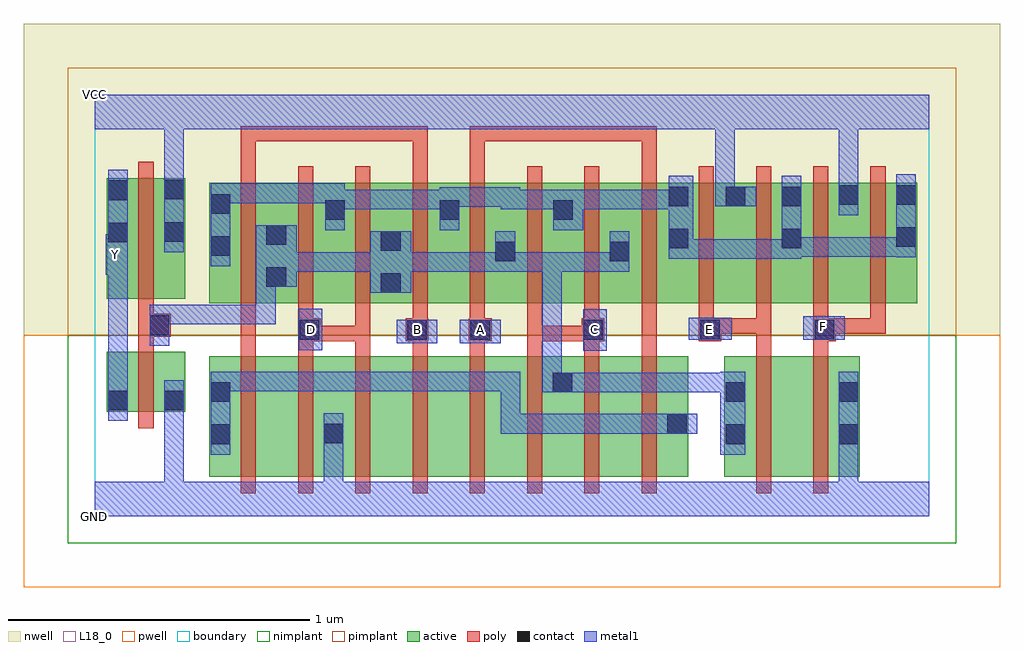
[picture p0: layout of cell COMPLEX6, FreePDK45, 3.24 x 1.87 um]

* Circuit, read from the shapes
.subckt COMPLEX6 A B C D E F GND VCC Y
M1 GND n1 Y VSUBS nfet w=0.2u l=0.05u
M2 n2 B n3 VSUBS nfet w=0.4u l=0.05u
M3 GND D n2 VSUBS nfet w=0.4u l=0.05u
M4 n4 D GND VSUBS nfet w=0.4u l=0.05u
M5 n5 B n4 VSUBS nfet w=0.4u l=0.05u
M6 n6 A n5 VSUBS nfet w=0.4u l=0.05u
M7 n1 C n6 VSUBS nfet w=0.4u l=0.05u
M8 n7 C n1 VSUBS nfet w=0.4u l=0.05u
M9 n3 A n7 VSUBS nfet w=0.4u l=0.05u
M10 n8 E n1 VSUBS nfet w=0.4u l=0.05u
M11 GND F n8 VSUBS nfet w=0.4u l=0.05u
M12 VCC n1 Y n9 pfet w=0.4u l=0.05u
M13 n1 B n10 n9 pfet w=0.4u l=0.05u m=2
M14 n10 D n1 n9 pfet w=0.4u l=0.05u m=2
M15 n1 A n10 n9 pfet w=0.4u l=0.05u m=2
M16 n10 C n1 n9 pfet w=0.4u l=0.05u m=2
M17 VCC E n10 n9 pfet w=0.4u l=0.05u m=2
M18 VCC F n10 n9 pfet w=0.4u l=0.05u m=2
.ends

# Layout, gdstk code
import gdstk
lib = gdstk.Library(unit=1e-6, precision=1e-09)
def R(c, l, rs):  # rectangles x0, y0, x1, y1
    for r in rs: c.add(gdstk.rectangle(r[:2], r[2:], *l))
def A(c, l, x, y, w, h, nx, ny, dx, dy):  # array of equal rectangles
    R(c, l, [(x+i*dx, y+j*dy, x+i*dx+w, y+j*dy+h) for i in range(nx) for j in range(ny)])
active = (1, 0)
pwell = (2, 0)
nwell = (3, 0)
nimplant = (4, 0)
pimplant = (5, 0)
poly = (9, 0)
contact = (10, 0)
metal1 = (11, 0)
L18_0 = (18, 0)
boundary = (235, 0)

complex6 = lib.new_cell('COMPLEX6')
A(complex6, active, 0.38, 0.707, 0.26, 0.4, 3, 1, 0.38, 0)
A(complex6, active, 0.565, 0.707, 0.075, 0.36, 4, 1, 0.38, 0)
R(complex6, active, [(0.38,0.132,0.605,0.532), (0.605,0.132,0.83,0.532), (0.755,0.132,0.985,0.532), (0.985,0.132,1.175,0.532), (1.175,0.132,1.365,0.532), (1.365,0.132,1.59,0.532), (1.515,0.132,1.745,0.532), (1.745,0.132,1.97,0.532), (2.09,0.132,2.315,0.532), (2.315,0.132,2.54,0.532), (0.38,0.147,0.485,0.532), (0.755,0.147,0.83,0.492), (1.515,0.147,1.59,0.492), (1.895,0.147,1.97,0.532), (2.09,0.147,2.195,0.532), (2.465,0.147,2.54,0.532), (0.04,0.347,0.115,0.547), (0.04,0.347,0.3,0.547), (0.225,0.347,0.3,0.547), (0.38,0.707,0.455,1.107), (0.565,0.707,0.835,1.107), (0.945,0.707,1.215,1.107), (1.325,0.707,1.592,1.107), (1.517,0.707,1.78,1.107), (1.705,0.707,1.975,1.107), (1.9,0.707,1.975,1.107), (1.9,0.707,2.165,1.107), (2.09,0.707,2.35,1.107), (2.275,0.707,2.35,1.107), (2.275,0.707,2.54,1.107), (2.465,0.707,2.73,1.107), (2.655,0.707,2.73,1.107), (0.04,0.722,0.115,1.122), (0.04,0.722,0.3,1.122), (0.225,0.722,0.3,1.122), (0.76,0.782,0.835,1.107), (1.517,0.782,1.592,1.107), (1.14,0.802,1.215,1.107), (2.09,0.802,2.165,1.107), (2.465,0.802,2.54,1.107)])
R(complex6, pwell, [(-0.235,-0.235,3.005,0.602)])
R(complex6, nwell, [(-0.235,0.602,3.005,1.635)])
R(complex6, nimplant, [(-0.09,-0.09,2.86,0.602)])
R(complex6, pimplant, [(-0.09,0.602,2.86,1.49)])
A(complex6, poly, 0.485, 0.077, 0.05, 0.51, 8, 1, 0.19, 0)
A(complex6, poly, 0.675, 0.537, 0.05, 0.095, 6, 1, 0.19, 0)
A(complex6, poly, 1.245, 0.607, 0.05, 0.095, 3, 1, 0.38, 0)
A(complex6, poly, 2.195, 0.607, 0.05, 0.095, 3, 1, 0.19, 0)
A(complex6, poly, 0.485, 0.652, 0.05, 0.51, 12, 1, 0.19, 0)
R(complex6, poly, [(2.195,0.077,2.245,0.587), (2.385,0.077,2.435,0.587), (0.145,0.292,0.195,0.602), (0.485,0.537,0.535,0.647), (1.815,0.537,1.865,0.647), (2.195,0.537,2.245,0.657), (2.385,0.537,2.435,0.632), (0.145,0.552,0.195,0.647), (0.675,0.582,0.75,0.657), (0.7,0.582,0.75,0.632), (0.7,0.582,0.75,0.632), (0.7,0.582,0.915,0.632), (0.865,0.582,0.915,0.632), (0.865,0.582,0.915,0.702), (1.032,0.582,1.107,0.657), (1.242,0.582,1.317,0.657), (1.435,0.582,1.485,0.632), (1.435,0.582,1.485,0.702), (1.435,0.582,1.667,0.632), (1.617,0.582,1.667,0.632), (1.617,0.582,1.667,0.632), (1.617,0.582,1.692,0.657), (2.005,0.582,2.08,0.657), (2.385,0.582,2.46,0.657), (0.145,0.597,0.252,0.672), (0.485,0.597,0.535,0.647), (0.485,0.597,0.535,0.702), (1.815,0.597,1.865,0.647), (1.815,0.597,1.865,0.702), (0.675,0.607,0.725,0.702), (1.055,0.607,1.105,0.702), (2.03,0.607,2.08,0.657), (2.03,0.607,2.08,0.657), (2.03,0.607,2.245,0.657), (2.195,0.607,2.245,0.657), (2.41,0.607,2.625,0.657), (2.575,0.607,2.625,0.657), (2.575,0.607,2.625,0.657), (2.575,0.607,2.625,0.657), (0.145,0.622,0.195,0.717), (0.145,0.667,0.195,1.177), (0.485,1.112,0.535,1.295), (1.055,1.112,1.105,1.295), (1.245,1.112,1.295,1.295), (1.815,1.112,1.865,1.295), (0.485,1.245,0.535,1.295), (0.485,1.245,0.535,1.295), (0.485,1.245,0.535,1.295), (0.485,1.245,0.75,1.295), (0.7,1.245,0.75,1.295), (0.7,1.245,0.882,1.295), (0.832,1.245,0.882,1.295), (0.832,1.245,0.882,1.295), (0.832,1.245,0.882,1.295), (0.832,1.245,1.105,1.295), (1.055,1.245,1.105,1.295), (1.055,1.245,1.105,1.295), (1.055,1.245,1.105,1.295), (1.245,1.245,1.295,1.295), (1.245,1.245,1.295,1.295), (1.245,1.245,1.295,1.295), (1.245,1.245,1.485,1.295), (1.435,1.245,1.485,1.295), (1.435,1.245,1.485,1.295), (1.435,1.245,1.485,1.295), (1.435,1.245,1.617,1.295), (1.567,1.245,1.617,1.295), (1.567,1.245,1.865,1.295), (1.815,1.245,1.865,1.295), (1.815,1.245,1.865,1.295), (1.815,1.245,1.865,1.295)])
R(complex6, contact, [(0.385,0.24,0.45,0.305), (2.095,0.24,2.16,0.305), (2.47,0.24,2.535,0.305), (0.76,0.242,0.825,0.307), (1.9,0.275,1.965,0.34), (0.045,0.352,0.11,0.417), (0.23,0.352,0.295,0.417), (0.385,0.38,0.45,0.445), (2.095,0.38,2.16,0.445), (2.47,0.38,2.535,0.445), (1.52,0.412,1.585,0.477), (0.68,0.587,0.745,0.652), (1.037,0.587,1.102,0.652), (1.247,0.587,1.312,0.652), (1.622,0.587,1.687,0.652), (2.01,0.587,2.075,0.652), (2.39,0.587,2.455,0.652), (0.182,0.602,0.247,0.667), (0.95,0.742,1.015,0.807), (0.57,0.762,0.635,0.827), (1.33,0.847,1.395,0.912), (1.71,0.847,1.775,0.912), (0.385,0.865,0.45,0.93), (0.95,0.882,1.015,0.947), (1.905,0.89,1.97,0.955), (2.28,0.89,2.345,0.955), (2.66,0.895,2.725,0.96), (0.57,0.902,0.635,0.967), (0.045,0.91,0.11,0.975), (0.23,0.912,0.295,0.977), (0.765,0.985,0.83,1.05), (1.145,0.985,1.21,1.05), (1.522,0.985,1.587,1.05), (0.385,1.005,0.45,1.07), (1.905,1.03,1.97,1.095), (2.095,1.03,2.16,1.095), (2.28,1.03,2.345,1.095), (2.47,1.035,2.535,1.1), (2.66,1.035,2.725,1.1), (0.045,1.05,0.11,1.115), (0.23,1.052,0.295,1.117)])
R(complex6, metal1, [(0,0,2.77,0.115), (0.23,0.05,0.295,0.115), (0.23,0.05,0.295,0.115), (0.23,0.05,0.295,0.115), (0.23,0.05,0.295,0.115), (0.23,0.05,0.295,0.382), (0.76,0.05,0.825,0.272), (2.47,0.05,2.535,0.27), (0.385,0.205,0.45,0.48), (2.077,0.205,2.16,0.48), (2.47,0.205,2.535,0.48), (0.76,0.207,0.825,0.342), (1.347,0.275,1.412,0.34), (1.347,0.275,1.412,0.34), (1.347,0.275,1.412,0.34), (1.347,0.275,1.622,0.34), (1.347,0.275,1.412,0.48), (1.557,0.275,1.622,0.34), (1.557,0.275,1.622,0.34), (1.557,0.275,1.622,0.34), (1.557,0.275,1.76,0.34), (1.695,0.275,1.76,0.34), (1.695,0.275,1.76,0.34), (1.695,0.275,1.76,0.34), (1.695,0.275,1.93,0.34), (1.865,0.275,2,0.34), (0.045,0.317,0.11,0.452), (0.23,0.317,0.295,0.452), (0.045,0.387,0.11,0.867), (1.485,0.412,1.62,0.477), (1.485,0.412,1.55,0.877), (1.555,0.412,1.622,0.477), (1.557,0.412,1.622,0.477), (1.557,0.412,1.792,0.477), (1.727,0.412,1.792,0.477), (1.727,0.412,1.9,0.477), (1.835,0.412,1.9,0.477), (1.835,0.412,1.93,0.477), (1.865,0.412,1.93,0.477), (1.865,0.412,2.142,0.477), (2.077,0.412,2.142,0.477), (2.077,0.412,2.142,0.477), (0.385,0.415,0.45,0.48), (0.385,0.415,0.45,0.48), (0.385,0.415,0.605,0.48), (0.54,0.415,0.605,0.48), (0.54,0.415,0.605,0.48), (0.54,0.415,0.605,0.48), (0.54,0.415,0.842,0.48), (0.777,0.415,0.842,0.48), (0.777,0.415,0.842,0.48), (0.777,0.415,0.842,0.48), (0.777,0.415,1.05,0.48), (0.985,0.415,1.05,0.48), (0.985,0.415,1.05,0.48), (0.985,0.415,1.05,0.48), (0.985,0.415,1.257,0.48), (1.192,0.415,1.257,0.48), (1.192,0.415,1.257,0.48), (1.192,0.415,1.257,0.48), (1.192,0.415,1.412,0.48), (1.347,0.415,1.412,0.48), (1.622,0.55,1.7,0.687), (0.677,0.552,0.755,0.69), (0.182,0.567,0.247,0.702), (1.002,0.575,1.137,0.652), (1.212,0.575,1.347,0.652), (1.972,0.587,2.115,0.66), (2.352,0.587,2.49,0.665), (0.182,0.637,0.247,0.702), (0.182,0.637,0.247,0.702), (0.182,0.637,0.45,0.702), (0.385,0.637,0.45,0.702), (0.385,0.637,0.45,0.702), (0.385,0.637,0.45,0.702), (0.385,0.637,0.6,0.702), (0.535,0.637,0.6,0.702), (0.535,0.637,0.6,0.827), (0.915,0.742,1.05,0.947), (0.535,0.762,0.67,0.967), (0.037,0.802,0.11,0.937), (0.605,0.812,0.67,0.877), (0.605,0.812,0.67,0.877), (0.605,0.812,0.807,0.877), (0.742,0.812,0.807,0.877), (0.742,0.812,0.807,0.877), (0.742,0.812,0.807,0.877), (0.742,0.812,0.98,0.877), (0.985,0.812,1.05,0.877), (0.985,0.812,1.05,0.877), (0.985,0.812,1.187,0.877), (1.122,0.812,1.187,0.877), (1.122,0.812,1.187,0.877), (1.122,0.812,1.187,0.877), (1.122,0.812,1.395,0.877), (1.33,0.812,1.395,0.947), (1.33,0.812,1.485,0.877), (1.42,0.812,1.485,0.877), (1.42,0.812,1.55,0.877), (1.485,0.812,1.55,0.877), (1.485,0.812,1.55,0.877), (1.485,0.812,1.55,0.877), (1.485,0.812,1.622,0.877), (1.557,0.812,1.622,0.877), (1.557,0.812,1.775,0.877), (1.71,0.812,1.775,0.947), (0.385,0.83,0.45,1.105), (1.905,0.855,1.987,1.13), (1.922,0.855,1.987,0.92), (1.922,0.855,1.987,0.92), (1.922,0.855,2.125,0.92), (2.06,0.855,2.125,0.92), (2.06,0.855,2.125,0.92), (2.06,0.855,2.125,0.92), (2.06,0.855,2.28,0.92), (2.215,0.855,2.28,0.92), (2.215,0.855,2.345,0.92), (2.28,0.855,2.345,1.13), (2.66,0.86,2.725,1.135), (2.28,0.862,2.482,0.927), (2.417,0.862,2.482,0.927), (2.417,0.862,2.482,0.927), (2.417,0.862,2.482,0.927), (2.417,0.862,2.725,0.927), (2.66,0.862,2.725,0.927), (2.66,0.862,2.725,0.927), (0.045,0.872,0.11,0.937), (0.045,0.872,0.11,1.15), (0.23,0.877,0.295,1.152), (0.765,0.95,0.83,1.105), (1.145,0.95,1.21,1.092), (1.522,0.95,1.622,1.085), (2.47,1,2.535,1.135), (0.765,1.02,0.83,1.085), (0.765,1.02,0.83,1.085), (0.765,1.02,1.05,1.085), (0.985,1.02,1.05,1.085), (0.985,1.02,1.05,1.085), (0.985,1.02,1.05,1.085), (0.985,1.02,1.21,1.085), (1.347,1.02,1.412,1.085), (1.347,1.02,1.412,1.085), (1.347,1.02,1.587,1.085), (1.347,1.02,1.412,1.092), (1.557,1.02,1.622,1.085), (1.557,1.02,1.622,1.085), (1.557,1.02,1.792,1.085), (1.727,1.02,1.792,1.085), (1.727,1.02,1.792,1.085), (1.727,1.02,1.792,1.085), (1.727,1.02,1.97,1.085), (1.145,1.027,1.21,1.092), (1.145,1.027,1.21,1.092), (1.145,1.027,1.412,1.092), (2.06,1.03,2.125,1.35), (2.06,1.03,2.195,1.095), (0.385,1.04,0.45,1.105), (0.385,1.04,0.45,1.105), (0.385,1.04,0.587,1.105), (0.522,1.04,0.587,1.105), (0.522,1.04,0.587,1.105), (0.522,1.04,0.587,1.105), (0.522,1.04,0.83,1.105), (2.47,1.07,2.535,1.135), (2.47,1.07,2.535,1.135), (2.47,1.07,2.535,1.35), (0.23,1.087,0.295,1.152), (0.23,1.087,0.295,1.152), (0.23,1.087,0.295,1.35), (0,1.285,2.77,1.4), (2.06,1.285,2.125,1.35), (2.06,1.285,2.125,1.35)])
A(complex6, L18_0, 1.247, 0.587, 0.065, 0.065, 3, 1, 0.38, 0)
R(complex6, L18_0, [(0,0,2.77,0.115), (0.23,0.05,0.295,0.115), (0.23,0.05,0.295,0.115), (0.23,0.05,0.295,0.115), (0.23,0.05,0.295,0.115), (0.23,0.05,0.295,0.382), (0.76,0.05,0.825,0.272), (2.47,0.05,2.535,0.27), (2.47,0.205,2.535,0.48), (0.76,0.207,0.825,0.342), (0.045,0.317,0.11,0.452), (0.23,0.317,0.295,0.452), (0.045,0.387,0.11,0.867), (1.622,0.55,1.7,0.687), (0.677,0.552,0.755,0.69), (1.002,0.575,1.137,0.652), (1.212,0.575,1.347,0.652), (0.687,0.587,0.752,0.652), (1.037,0.587,1.102,0.652), (1.972,0.587,2.115,0.66), (2.352,0.587,2.49,0.665), (2.387,0.597,2.452,0.662), (0.037,0.802,0.11,0.937), (0.037,0.837,0.102,0.902), (0.045,0.872,0.11,1.15), (0.045,0.872,0.11,0.937), (0.23,0.877,0.295,1.152), (2.47,1,2.535,1.135), (2.06,1.03,2.195,1.095), (2.06,1.03,2.125,1.35), (2.47,1.07,2.535,1.135), (2.47,1.07,2.535,1.135), (2.47,1.07,2.535,1.35), (0.23,1.087,0.295,1.152), (0.23,1.087,0.295,1.152), (0.23,1.087,0.295,1.35), (0,1.285,2.77,1.4), (2.06,1.285,2.125,1.35), (2.06,1.285,2.125,1.35)])
R(complex6, boundary, [(0,0,2.77,1.4)])
complex6.add(gdstk.Label('A', (1.28,0.62), layer=11, texttype=0))
complex6.add(gdstk.Label('B', (1.07,0.62), layer=11, texttype=0))
complex6.add(gdstk.Label('C', (1.66,0.62), layer=11, texttype=0))
complex6.add(gdstk.Label('D', (0.72,0.62), layer=11, texttype=0))
complex6.add(gdstk.Label('E', (2.04,0.62), layer=11, texttype=0))
complex6.add(gdstk.Label('F', (2.42,0.63), layer=11, texttype=0))
complex6.add(gdstk.Label('Y', (0.07,0.87), layer=11, texttype=0))
complex6.add(gdstk.Label('VCC', (0,1.4), layer=11, texttype=0))
complex6.add(gdstk.Label('GND', (0,0), layer=11, texttype=0))

lib.write_gds('COMPLEX6.gds')
